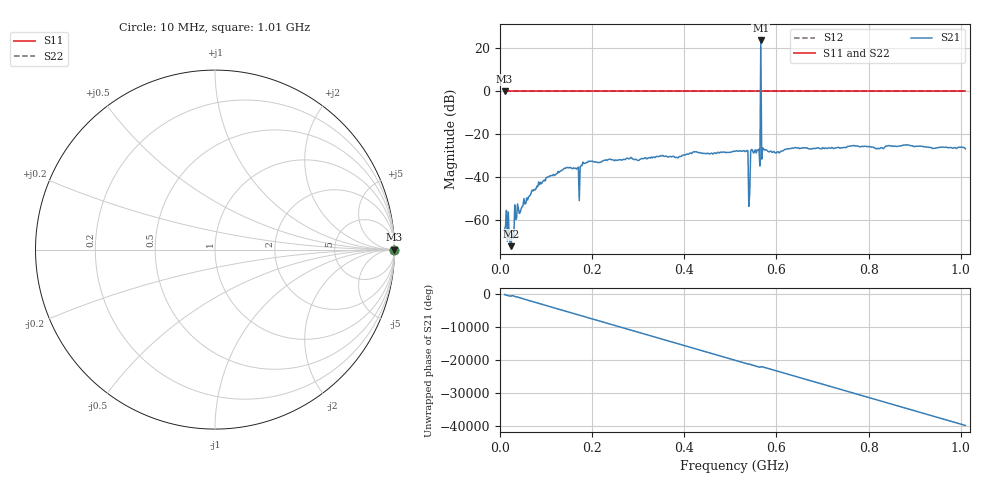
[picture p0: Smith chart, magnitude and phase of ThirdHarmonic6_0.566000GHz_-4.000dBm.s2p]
! 8/15/2025 6:06:33 PM
! C:\ANRITSUVNA\TEMP\TEMP.S2P
! CHANNEL.1
! TR.MEASUREMENT
! RAW.DATA
! RF.CORRECTION.OFF
! AVERAGING.OFF
! IF.BANDWIDTH: 5KHZ
! SWEEPTYPE:  FREQ.SWEEP(Linear)
! Reference Plane Port Info
! PORT:  PORT1  PORT2
! DISTANCE:  0  m  0  m
! TIME:  0  s  0  s
! PHASE.OFFSET:  0  deg.  0  deg.
! LOSS:  0  dB  0  dB
! REF.LOSS:  0  dB  0  dB
! REF.FREQ:  0  Hz  0  Hz
! Power Info
! POWER:  -20  dBm  -20  dBm
! EFF.POWER:  -20  dBm  -20  dBm
! SOURCE.ATTEN:  0  dB  0  dB
! TEST.ATTEN:  0  dB  0  dB
# GHZ S RI R 50.0
! FREQ.GHZ  S11RE  S11IM  S21RE  S21IM  S12RE  S12IM  S22RE  S22IM
!; PortSelection: Port_12
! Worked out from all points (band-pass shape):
!   501 points, 10 MHz to 1.01 GHz, reference 50 ohm
!   highest |S21| = 23.74 dB at 566 MHz (marker M1); lowest = -72.0 dB at 24 MHz (marker M2)
!   |S21| within 3 dB of the highest: 565.8972 MHz to 566.1087 MHz (211.5 kHz wide, 0.0374 % of centre)
!   lowest |S11| = 0.0 dB at 10 MHz (marker M3)
!   |S11| at or under -10 dB: nowhere
!   |S22| runs from 0.0 to 0.0 dB; largest |S21 - S12| = 15
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0.01  1 0  -0.000604 -4.54e-05  1 0  1 0
0.016  1 0  5.24e-05 -0.000322  1 0  1 0
0.024  1 0  0.000172 0.000184  1 0  1 0
0.036  1 0  -0.00111 0.000172  1 0  1 0
0.084  1 0  0.00563 0.00556  1 0  1 0
0.144  1 0  -0.008 0.0152  1 0  1 0
0.17  1 0  -0.0151 0.00853  1 0  1 0
0.178  1 0  -0.0187 -0.00303  1 0  1 0
0.344  1 0  0.0289 -0.00969  1 0  1 0
0.51  1 0  -0.0354 0.0198  1 0  1 0
0.534  1 0  -0.00276 -0.0406  1 0  1 0
0.538  1 0  -0.00774 0.041  1 0  1 0
0.544  1 0  -0.0268 -0.031  1 0  1 0
0.548  1 0  0.0229 0.0365  1 0  1 0
0.56  1 0  0.0225 -0.0364  1 0  1 0
0.562  1 0  -0.0345 -0.0298  1 0  1 0
0.566  1 0  5.444 -14.38  1 0  1 0
0.57  1 0  -0.0138 -0.0466  1 0  1 0
0.572  1 0  -0.0457 0.00915  1 0  1 0
0.678  1 0  -0.029 -0.0365  1 0  1 0
0.844  1 0  0.0486 0.0268  1 0  1 0
1.01  1 0  -0.0462 0.00321  1 0  1 0
